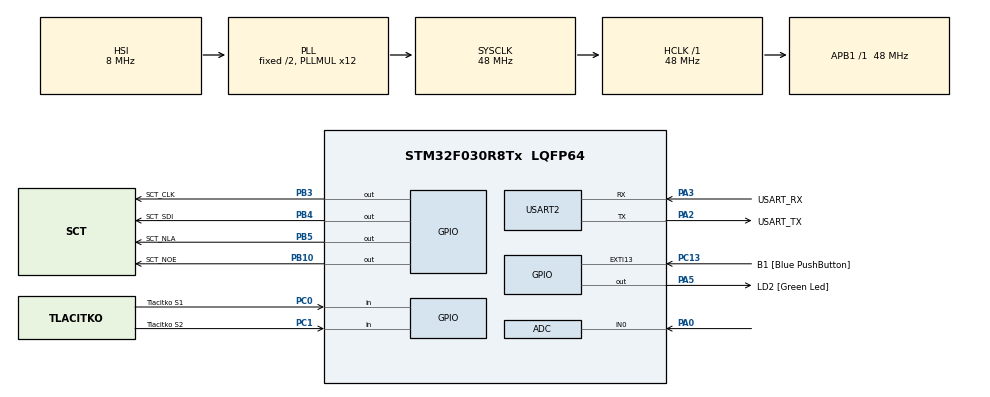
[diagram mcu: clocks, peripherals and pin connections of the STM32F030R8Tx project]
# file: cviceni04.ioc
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ADC.ContinuousConvMode=ENABLE
ADC.Overrun=ADC_OVR_DATA_OVERWRITTEN
ADC.SamplingTime=ADC_SAMPLETIME_239CYCLES_5
Mcu.Family=STM32F0
Mcu.Name=STM32F030R8Tx
Mcu.Package=LQFP64
NVIC.ADC1_IRQn=true\:0\:0\:false\:false\:true\:true\:true
PA0.Mode=IN0
PA0.Signal=ADC_IN0
PA13.GPIO_Label=TMS
PA13.Mode=Serial_Wire
PA13.Signal=SYS_SWDIO
PA14.GPIO_Label=TCK
PA14.Mode=Serial_Wire
PA14.Signal=SYS_SWCLK
PA2.GPIO_Label=USART_TX
PA2.GPIO_Mode=GPIO_MODE_AF_PP
PA2.GPIO_PuPd=GPIO_NOPULL
PA2.GPIO_Speed=GPIO_SPEED_FREQ_LOW
PA2.Mode=Asynchronous
PA2.Signal=USART2_TX
PA3.GPIO_Label=USART_RX
PA3.GPIO_Mode=GPIO_MODE_AF_PP
PA3.GPIO_PuPd=GPIO_NOPULL
PA3.GPIO_Speed=GPIO_SPEED_FREQ_LOW
PA3.Mode=Asynchronous
PA3.Signal=USART2_RX
PA5.GPIO_Label=LD2 [Green Led]
PA5.GPIO_Mode=GPIO_MODE_OUTPUT_PP
PA5.GPIO_PuPd=GPIO_NOPULL
PA5.GPIO_Speed=GPIO_SPEED_FREQ_LOW
PA5.Signal=GPIO_Output
PB10.GPIO_Label=SCT_NOE
PB10.Signal=GPIO_Output
PB3.GPIO_Label=SCT_CLK
PB3.Signal=GPIO_Output
PB4.GPIO_Label=SCT_SDI
PB4.Signal=GPIO_Output
PB5.GPIO_Label=SCT_NLA
PB5.Signal=GPIO_Output
PC0.GPIO_Label=Tlacitko S1
PC0.GPIO_PuPd=GPIO_PULLUP
PC0.Signal=GPIO_Input
PC1.GPIO_Label=Tlacitko S2
PC1.GPIO_PuPd=GPIO_PULLUP
PC1.Signal=GPIO_Input
PC13.GPIO_Label=B1 [Blue PushButton]
PC13.GPIO_ModeDefaultEXTI=GPIO_MODE_IT_FALLING
PC13.Signal=GPXTI13
PC14-OSC32_IN.Mode=LSE-External-Oscillator
PC14-OSC32_IN.Signal=RCC_OSC32_IN
PC15-OSC32_OUT.Mode=LSE-External-Oscillator
PC15-OSC32_OUT.Signal=RCC_OSC32_OUT
PF0-OSC_IN.Mode=HSE-External-Clock-Source
PF0-OSC_IN.Signal=RCC_OSC_IN
PF1-OSC_OUT.Signal=RCC_OSC_OUT
ProjectManager.HeapSize=0x200
ProjectManager.StackSize=0x400
ProjectManager.TargetToolchain=STM32CubeIDE
RCC.AHBFreq_Value=48000000
RCC.APB1Freq_Value=48000000
RCC.APB1TimFreq_Value=48000000
RCC.HCLKFreq_Value=48000000
RCC.PLLMUL=RCC_PLL_MUL12
RCC.SYSCLKFreq_VALUE=48000000
RCC.SYSCLKSource=RCC_SYSCLKSOURCE_PLLCLK
USART2.VirtualMode-Asynchronous=VM_ASYNC
VP_ADC_TempSens_Input.Mode=IN-TempSens
VP_ADC_Vref_Input.Mode=IN-Vrefint
board=NUCLEO-F030R8

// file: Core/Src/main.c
/* USER CODE BEGIN Header */
/**
  ******************************************************************************
  * @file           : main.c
  * @brief          : Main program body
  ******************************************************************************
  * @attention
  *
  * <h2><center>&copy; Copyright (c) 2021 STMicroelectronics.
  * All rights reserved.</center></h2>
  *
  * This software component is licensed by ST under BSD 3-Clause license,
  * the "License"; You may not use this file except in compliance with the
  * License. You may obtain a copy of the License at:
  *                        opensource.org/licenses/BSD-3-Clause
  *
  ******************************************************************************
  */
/* USER CODE END Header */
#include "main.h"

#include "sct.h"

ADC_HandleTypeDef hadc;

UART_HandleTypeDef huart2;

void SystemClock_Config(void);
static void MX_GPIO_Init(void);
static void MX_USART2_UART_Init(void);
static void MX_ADC_Init(void);

/* USER CODE BEGIN 0 */
//static uint32_t delay = HAL_GET_TICK
#define DISPLAY_TIME_DELAY (1000)
volatile uint32_t delay = HAL_GetTick();

uint8_t delay1000(void) {
	uint8_t button;

	if (HAL_GetTick() > delay + DISPLAY_TIME_DELAY) {
		delay = HAL_GetTick();
		button = 1;
	}
	else {
		button = 0;
	}
}

// Promena pro SYROVE hodnoty potenciometru z ADC
static volatile uint32_t raw_pot;

// Uzivatelske promenne pro zobrazovani na LED
static volatile uint32_t display_value;
static volatile uint32_t bar_value;

// Promene pro ukol 4: Exponencialni kumulace - bereme vetsinu starych vzorku a cas novych - narust hodnot je zprumerovany a jevi se s mirnym zpozdenim
#define ADC_Q (13)
static uint32_t avg_pot;
//Promene pro ukol 4: aplikace vicekanaloveho ADC
static uint8_t channel = 0;
volatile uint32_t raw_temp;
volatile uint32_t raw_volt;
uint32_t voltage;
uint32_t temperature;

//konstanty pro prepocet ziskanych hodnot do lidske reci teploty
/* Temperature sensor calibration value address */
#define TEMP110_CAL_ADDR ((uint16_t*) ((uint32_t) 0x1FFFF7C2))
#define TEMP30_CAL_ADDR  ((uint16_t*) ((uint32_t) 0x1FFFF7B8))
/* Internal voltage reference calibration value address */
#define VREFINT_CAL_ADDR ((uint16_t*) ((uint32_t) 0x1FFFF7BA))

//Promena state pro udani pozadovaneho stavu
static enum { SHOW_POT, SHOW_VOLT, SHOW_TEMP } state = SHOW_POT;

// tato callback se deje v interrupt rezimu
void HAL_ADC_ConvCpltCallback(ADC_HandleTypeDef* hadc) {

	if (channel == 0) {
		raw_pot = HAL_ADC_GetValue(hadc);

		//ukol 3 - pouziti exponencialni kumulace
		raw_pot = avg_pot >> ADC_Q;
		avg_pot -= raw_pot;
		avg_pot += HAL_ADC_GetValue(hadc);
	}
	else if (channel == 1) {
		raw_temp = HAL_ADC_GetValue(hadc);
	}
	else if (channel == 2) {
		raw_volt = HAL_ADC_GetValue(hadc);
	}

	if (__HAL_ADC_GET_FLAG(hadc, ADC_FLAG_EOS)) channel = 0;
	else channel++;
}
/* USER CODE END 0 */

int main(void)
{

  /* MCU Configuration--------------------------------------------------------*/

  /* Reset of all peripherals, Initializes the Flash interface and the Systick. */
  HAL_Init();

  /* Configure the system clock */
  SystemClock_Config();

  /* Initialize all configured peripherals */
  MX_GPIO_Init();
  MX_USART2_UART_Init();
  MX_ADC_Init();
  /* USER CODE BEGIN 2 */

//Toto je kod vyuzivajici inicializace z .ioc, proto musi by az nize
	HAL_ADCEx_Calibration_Start(&hadc);
// Start ADC v interruptu
	HAL_ADC_Start_IT(&hadc);
// Inicializace display driveru
	sct_init();

  /* USER CODE END 2 */

  /* Infinite loop */
  /* USER CODE BEGIN WHILE */
  while (1)
  {

	  voltage = 330 * (*VREFINT_CAL_ADDR) / raw_volt;
	  temperature = (raw_temp - (int32_t)(*TEMP30_CAL_ADDR));
	  temperature = temperature * (int32_t)(110 - 30);
	  temperature = temperature / (int32_t)(*TEMP110_CAL_ADDR - *TEMP30_CAL_ADDR);
	  temperature = temperature + 30;

// Prepocet hodnot do uzivatelem stanovenych mezi
	  display_value = (raw_pot * 501)/4096;
	  bar_value = (raw_pot*8)/4000;

// Cteni tlacitek pomoci HAL funkce
	  if (HAL_GPIO_ReadPin(GPIOC, Tlacitko_S1_Pin) == 0){
		  state = SHOW_TEMP;
	  }
	  else if (HAL_GPIO_ReadPin(GPIOC, Tlacitko_S2_Pin) == 0){
	  		  state = SHOW_VOLT;
	  }
	  else {
		  state = SHOW_POT;
	  }

//  	  ((HAL_GPIO_ReadPin(GPIOC, Tlacitko_S2_Pin) || HAL_GPIO_ReadPin(GPIOC, Tlacitko_S1_Pin)) == 0){
//  	  		  state = SHOW_POT;

//Zobrazeni led displayem
	  if (state == 0) {
		  sct_value(display_value, bar_value);
	  }
	  else if (state == 1) {
		  sct_value(temperature, bar_value);
	  }
	  else if (state == 2) {
		  sct_value(voltage, bar_value);
	  }

//	  sct_value(HAL_GPIO_ReadPin(GPIOC, Tlacitko_S1_Pin), HAL_GPIO_ReadPin(GPIOC, Tlacitko_S1_Pin));

    /* USER CODE END WHILE */

  }
}

void SystemClock_Config(void)
{
  RCC_OscInitTypeDef RCC_OscInitStruct = {0};
  RCC_ClkInitTypeDef RCC_ClkInitStruct = {0};

  /** Initializes the RCC Oscillators according to the specified parameters
  * in the RCC_OscInitTypeDef structure.
  */
  RCC_OscInitStruct.OscillatorType = RCC_OSCILLATORTYPE_HSI|RCC_OSCILLATORTYPE_HSI14;
  RCC_OscInitStruct.HSIState = RCC_HSI_ON;
  RCC_OscInitStruct.HSI14State = RCC_HSI14_ON;
  RCC_OscInitStruct.HSICalibrationValue = RCC_HSICALIBRATION_DEFAULT;
  RCC_OscInitStruct.HSI14CalibrationValue = 16;
  RCC_OscInitStruct.PLL.PLLState = RCC_PLL_ON;
  RCC_OscInitStruct.PLL.PLLSource = RCC_PLLSOURCE_HSI;
  RCC_OscInitStruct.PLL.PLLMUL = RCC_PLL_MUL12;
  RCC_OscInitStruct.PLL.PREDIV = RCC_PREDIV_DIV1;
  if (HAL_RCC_OscConfig(&RCC_OscInitStruct) != HAL_OK)
  {
    Error_Handler();
  }
  /** Initializes the CPU, AHB and APB buses clocks
  */
  RCC_ClkInitStruct.ClockType = RCC_CLOCKTYPE_HCLK|RCC_CLOCKTYPE_SYSCLK
                              |RCC_CLOCKTYPE_PCLK1;
  RCC_ClkInitStruct.SYSCLKSource = RCC_SYSCLKSOURCE_PLLCLK;
  RCC_ClkInitStruct.AHBCLKDivider = RCC_SYSCLK_DIV1;
  RCC_ClkInitStruct.APB1CLKDivider = RCC_HCLK_DIV1;

  if (HAL_RCC_ClockConfig(&RCC_ClkInitStruct, FLASH_LATENCY_1) != HAL_OK)
  {
    Error_Handler();
  }
}

static void MX_ADC_Init(void)
{

  ADC_ChannelConfTypeDef sConfig = {0};

  /** Configure the global features of the ADC (Clock, Resolution, Data Alignment and number of conversion)
  */
  hadc.Instance = ADC1;
  hadc.Init.ClockPrescaler = ADC_CLOCK_ASYNC_DIV1;
  hadc.Init.Resolution = ADC_RESOLUTION_12B;
  hadc.Init.DataAlign = ADC_DATAALIGN_RIGHT;
  hadc.Init.ScanConvMode = ADC_SCAN_DIRECTION_FORWARD;
  hadc.Init.EOCSelection = ADC_EOC_SINGLE_CONV;
  hadc.Init.LowPowerAutoWait = DISABLE;
  hadc.Init.LowPowerAutoPowerOff = DISABLE;
  hadc.Init.ContinuousConvMode = ENABLE;
  hadc.Init.DiscontinuousConvMode = DISABLE;
  hadc.Init.ExternalTrigConv = ADC_SOFTWARE_START;
  hadc.Init.ExternalTrigConvEdge = ADC_EXTERNALTRIGCONVEDGE_NONE;
  hadc.Init.DMAContinuousRequests = DISABLE;
  hadc.Init.Overrun = ADC_OVR_DATA_OVERWRITTEN;
  if (HAL_ADC_Init(&hadc) != HAL_OK)
  {
    Error_Handler();
  }
  /** Configure for the selected ADC regular channel to be converted.
  */
  sConfig.Channel = ADC_CHANNEL_0;
  sConfig.Rank = ADC_RANK_CHANNEL_NUMBER;
  sConfig.SamplingTime = ADC_SAMPLETIME_239CYCLES_5;
  if (HAL_ADC_ConfigChannel(&hadc, &sConfig) != HAL_OK)
  {
    Error_Handler();
  }
  /** Configure for the selected ADC regular channel to be converted.
  */
  sConfig.Channel = ADC_CHANNEL_TEMPSENSOR;
  if (HAL_ADC_ConfigChannel(&hadc, &sConfig) != HAL_OK)
  {
    Error_Handler();
  }
  /** Configure for the selected ADC regular channel to be converted.
  */
  sConfig.Channel = ADC_CHANNEL_VREFINT;
  if (HAL_ADC_ConfigChannel(&hadc, &sConfig) != HAL_OK)
  {
    Error_Handler();
  }

}

static void MX_USART2_UART_Init(void)
{

  huart2.Instance = USART2;
  huart2.Init.BaudRate = 38400;
  huart2.Init.WordLength = UART_WORDLENGTH_8B;
  huart2.Init.StopBits = UART_STOPBITS_1;
  huart2.Init.Parity = UART_PARITY_NONE;
  huart2.Init.Mode = UART_MODE_TX_RX;
  huart2.Init.HwFlowCtl = UART_HWCONTROL_NONE;
  huart2.Init.OverSampling = UART_OVERSAMPLING_16;
  huart2.Init.OneBitSampling = UART_ONE_BIT_SAMPLE_DISABLE;
  huart2.AdvancedInit.AdvFeatureInit = UART_ADVFEATURE_NO_INIT;
  if (HAL_UART_Init(&huart2) != HAL_OK)
  {
    Error_Handler();
  }

}

static void MX_GPIO_Init(void)
{
  GPIO_InitTypeDef GPIO_InitStruct = {0};

  /* GPIO Ports Clock Enable */
  __HAL_RCC_GPIOC_CLK_ENABLE();
  __HAL_RCC_GPIOF_CLK_ENABLE();
  __HAL_RCC_GPIOA_CLK_ENABLE();
  __HAL_RCC_GPIOB_CLK_ENABLE();

  /*Configure GPIO pin Output Level */
  HAL_GPIO_WritePin(LD2_GPIO_Port, LD2_Pin, GPIO_PIN_RESET);

  /*Configure GPIO pin Output Level */
  HAL_GPIO_WritePin(GPIOB, SCT_NOE_Pin|SCT_CLK_Pin|SCT_SDI_Pin|SCT_NLA_Pin, GPIO_PIN_RESET);

  /*Configure GPIO pin : B1_Pin */
  GPIO_InitStruct.Pin = B1_Pin;
  GPIO_InitStruct.Mode = GPIO_MODE_IT_FALLING;
  GPIO_InitStruct.Pull = GPIO_NOPULL;
  HAL_GPIO_Init(B1_GPIO_Port, &GPIO_InitStruct);

  /*Configure GPIO pins : Tlacitko_S1_Pin Tlacitko_S2_Pin */
  GPIO_InitStruct.Pin = Tlacitko_S1_Pin|Tlacitko_S2_Pin;
  GPIO_InitStruct.Mode = GPIO_MODE_INPUT;
  GPIO_InitStruct.Pull = GPIO_PULLUP;
  HAL_GPIO_Init(GPIOC, &GPIO_InitStruct);

  /*Configure GPIO pin : LD2_Pin */
  GPIO_InitStruct.Pin = LD2_Pin;
  GPIO_InitStruct.Mode = GPIO_MODE_OUTPUT_PP;
  GPIO_InitStruct.Pull = GPIO_NOPULL;
  GPIO_InitStruct.Speed = GPIO_SPEED_FREQ_LOW;
  HAL_GPIO_Init(LD2_GPIO_Port, &GPIO_InitStruct);

  /*Configure GPIO pins : SCT_NOE_Pin SCT_CLK_Pin SCT_SDI_Pin SCT_NLA_Pin */
  GPIO_InitStruct.Pin = SCT_NOE_Pin|SCT_CLK_Pin|SCT_SDI_Pin|SCT_NLA_Pin;
  GPIO_InitStruct.Mode = GPIO_MODE_OUTPUT_PP;
  GPIO_InitStruct.Pull = GPIO_NOPULL;
  GPIO_InitStruct.Speed = GPIO_SPEED_FREQ_LOW;
  HAL_GPIO_Init(GPIOB, &GPIO_InitStruct);

}

void Error_Handler(void)
{
  __disable_irq();
  while (1)
  {
  }
}

/************************ (C) COPYRIGHT STMicroelectronics *****END OF FILE****/
